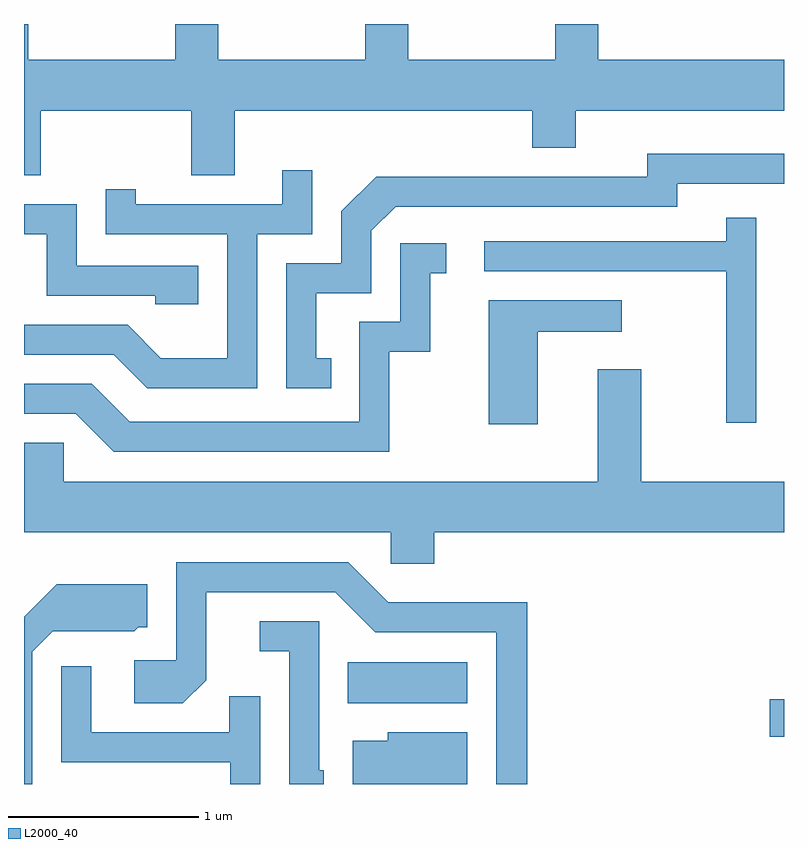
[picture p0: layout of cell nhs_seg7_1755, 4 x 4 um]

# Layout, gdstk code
import gdstk
lib = gdstk.Library(unit=1e-6, precision=1e-09)
def R(c, l, rs):  # rectangles x0, y0, x1, y1
    for r in rs: c.add(gdstk.rectangle(r[:2], r[2:], *l))
def P(c, l, *ps):  # polygons
    for p in ps: c.add(gdstk.Polygon(p, *l))
L2000_40 = (2000, 40)

nhs_seg7_1755 = lib.new_cell('nhs_seg7_1755')
R(nhs_seg7_1755, L2000_40, [(241.536,1786.501,241.611,1786.699), (239.316,1786.676,239.944,1786.894)])
P(nhs_seg7_1755, L2000_40, [(237.699,1789.796),(238.491,1789.796),(238.491,1789.456),(238.719,1789.456),(238.719,1789.796),(240.286,1789.796),(240.286,1789.601),(240.514,1789.601),(240.514,1789.796),(241.611,1789.796),(241.611,1790.064),(240.634,1790.064),(240.634,1790.252),(240.406,1790.252),(240.406,1790.064),(239.634,1790.064),(239.634,1790.252),(239.406,1790.252),(239.406,1790.064),(238.634,1790.064),(238.634,1790.252),(238.406,1790.252),(238.406,1790.064),(237.634,1790.064),(237.634,1790.252),(237.611,1790.252),(237.611,1789.456),(237.699,1789.456)],
  [(239.228,1788.494),(239.149,1788.494),(239.149,1788.836),(239.439,1788.836),(239.439,1789.164),(239.567,1789.291),(241.049,1789.291),(241.049,1789.411),(241.611,1789.411),(241.611,1789.569),(240.891,1789.569),(240.891,1789.449),(239.464,1789.449),(239.281,1789.267),(239.281,1788.994),(238.991,1788.994),(238.991,1788.336),(239.228,1788.336)],
  [(238.839,1789.146),(239.129,1789.146),(239.129,1789.483),(238.971,1789.483),(238.971,1789.304),(238.199,1789.304),(238.199,1789.383),(238.041,1789.383),(238.041,1789.146),(238.681,1789.146),(238.681,1788.494),(238.332,1788.494),(238.157,1788.669),(237.611,1788.669),(237.611,1788.511),(238.084,1788.511),(238.259,1788.336),(238.839,1788.336)],
  [(238.529,1788.979),(237.889,1788.979),(237.889,1789.304),(237.611,1789.304),(237.611,1789.146),(237.731,1789.146),(237.731,1788.821),(238.301,1788.821),(238.301,1788.776),(238.529,1788.776)],
  [(241.464,1789.233),(241.306,1789.233),(241.306,1789.109),(240.033,1789.109),(240.033,1788.951),(241.306,1788.951),(241.306,1788.153),(241.464,1788.153)],
  [(239.534,1788.526),(239.749,1788.526),(239.749,1788.941),(239.833,1788.941),(239.833,1789.099),(239.591,1789.099),(239.591,1788.684),(239.376,1788.684),(239.376,1788.159),(238.167,1788.159),(237.967,1788.359),(237.611,1788.359),(237.611,1788.201),(237.884,1788.201),(238.084,1788.001),(239.534,1788.001)],
  [(240.314,1788.631),(240.758,1788.631),(240.758,1788.799),(240.056,1788.799),(240.056,1788.146),(240.314,1788.146)],
  [(237.819,1788.049),(237.611,1788.049),(237.611,1787.576),(239.541,1787.576),(239.541,1787.411),(239.769,1787.411),(239.769,1787.576),(241.611,1787.576),(241.611,1787.844),(240.859,1787.844),(240.859,1788.434),(240.631,1788.434),(240.631,1787.844),(237.819,1787.844)],
  [(240.259,1787.209),(239.527,1787.209),(239.317,1787.419),(238.411,1787.419),(238.411,1786.904),(238.191,1786.904),(238.191,1786.676),(238.447,1786.676),(238.569,1786.799),(238.569,1787.261),(239.249,1787.261),(239.459,1787.051),(240.096,1787.051),(240.096,1786.252),(240.259,1786.252)],
  [(237.654,1786.949),(237.762,1787.056),(238.192,1787.056),(238.212,1787.076),(238.259,1787.076),(238.259,1787.304),(237.784,1787.304),(237.611,1787.132),(237.611,1786.252),(237.654,1786.252)],
  [(239.189,1786.324),(239.164,1786.324),(239.164,1787.109),(238.853,1787.109),(238.853,1786.951),(239.006,1786.951),(239.006,1786.252),(239.189,1786.252)],
  [(238.854,1786.713),(238.691,1786.713),(238.691,1786.524),(237.964,1786.524),(237.964,1786.873),(237.806,1786.873),(237.806,1786.366),(238.696,1786.366),(238.696,1786.252),(238.854,1786.252)],
  [(239.944,1786.524),(239.526,1786.524),(239.526,1786.479),(239.341,1786.479),(239.341,1786.252),(239.944,1786.252)])

lib.write_gds('nhs_seg7_1755.gds')
